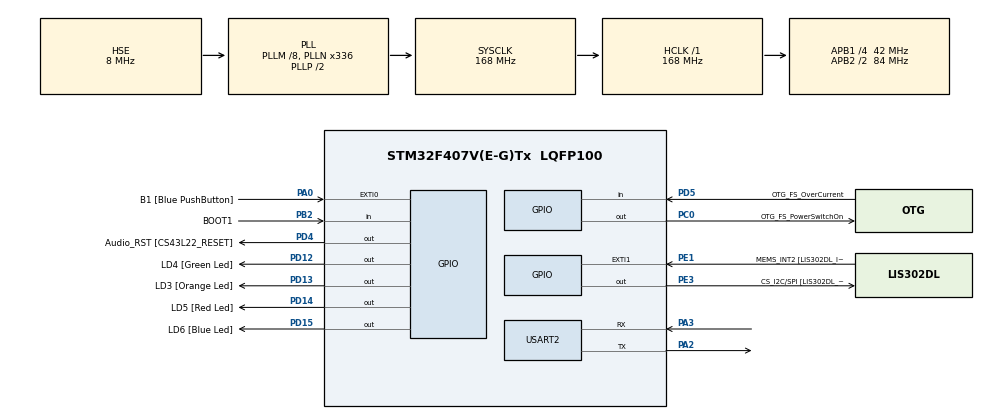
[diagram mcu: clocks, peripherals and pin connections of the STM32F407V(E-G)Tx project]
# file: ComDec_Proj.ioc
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Mcu.Family=STM32F4
PA11.GPIO_Speed=GPIO_SPEED_FREQ_LOW
PC3.GPIO_Mode=GPIO_MODE_AF_PP
FREERTOS.Queues01=CharGenThreadQ,16,uint16_t,0,Dynamic,NULL,NULL;DecodingThreadQ,16,uint16_t,0,Dynamic,NULL,NULL
PD12.GPIO_Label=LD4 [Green Led]
PH0-OSC_IN.Signal=RCC_OSC_IN
VP_SYS_VS_tim6.Mode=TIM6
RCC.CortexFreq_Value=168000000
PC10.GPIO_PuPd=GPIO_NOPULL
PB10.GPIO_Speed=GPIO_SPEED_FREQ_LOW
PB6.GPIO_Mode=GPIO_MODE_AF_OD
PB10.GPIO_PuPd=GPIO_NOPULL
NVIC.TIM6_DAC_IRQn=true\:0\:0\:false\:false\:true\:false\:false\:true
PA10.GPIO_PuPd=GPIO_NOPULL
PD15.GPIO_Speed=GPIO_SPEED_FREQ_LOW
PC10.Signal=I2S3_CK
PC12.Signal=I2S3_SD
PA14.GPIO_Label=SWCLK
PA7.GPIO_Mode=GPIO_MODE_AF_PP
PC0.GPIO_Label=OTG_FS_PowerSwitchOn
PA6.GPIO_Label=SPI1_MISO [LIS302DL_SDO]
PB6.GPIO_Label=Audio_SCL [CS43L22_SCL]
PC10.GPIO_Speed=GPIO_SPEED_FREQ_LOW
PA11.GPIO_PuPd=GPIO_NOPULL
PC15-OSC32_OUT.GPIO_Label=PC15-OSC32_OUT
PC3.GPIO_Speed=GPIO_SPEED_FREQ_LOW
RCC.SYSCLKSource=RCC_SYSCLKSOURCE_PLLCLK
ProjectManager.StackSize=0x400
PA6.GPIO_Mode=GPIO_MODE_AF_PP
VP_FREERTOS_VS_CMSIS_V2.Mode=CMSIS_V2
PD13.Signal=GPIO_Output
PD14.GPIO_Speed=GPIO_SPEED_FREQ_LOW
PA12.Signal=USB_OTG_FS_DP
RCC.HCLKFreq_Value=168000000
PD4.Signal=GPIO_Output
RCC.APB2TimFreq_Value=168000000
PB6.Signal=I2C1_SCL
PC7.Signal=I2S3_MCK
PC3.Signal=I2S2_SD
PE1.Signal=GPXTI1
RCC.AHBFreq_Value=168000000
PH0-OSC_IN.Mode=HSE-External-Oscillator
PH0-OSC_IN.GPIO_Label=PH0-OSC_IN
PA9.GPIO_Mode=GPIO_MODE_INPUT
RCC.HSE_VALUE=8000000
PA4.GPIO_PuPd=GPIO_NOPULL
PB2.Signal=GPIO_Input
PA4.GPIO_Speed=GPIO_SPEED_FREQ_LOW
PA6.GPIO_PuPd=GPIO_NOPULL
PC14-OSC32_IN.Mode=LSE-External-Oscillator
PA14.Mode=Serial_Wire
PA5.GPIO_PuPd=GPIO_NOPULL
PA10.GPIO_Label=OTG_FS_ID
PC7.GPIO_Mode=GPIO_MODE_AF_PP
PD5.GPIO_Mode=GPIO_MODE_INPUT
PD14.GPIO_PuPd=GPIO_NOPULL
PB2.GPIO_PuPd=GPIO_NOPULL
PH1-OSC_OUT.Mode=HSE-External-Oscillator
PD13.GPIO_Label=LD3 [Orange Led]
Mcu.Package=LQFP100
PB9.Signal=I2C1_SDA
PA6.Signal=SPI1_MISO
NVIC.TimeBase=TIM6_DAC_IRQn
USART2.VirtualMode=VM_ASYNC
PD12.Signal=GPIO_Output
PD5.GPIO_Label=OTG_FS_OverCurrent
PD15.GPIO_PuPd=GPIO_NOPULL
NVIC.TimeBaseIP=TIM6
PA10.Signal=USB_OTG_FS_ID
PB9.GPIO_PuPd=GPIO_NOPULL
PA10.GPIO_Speed=GPIO_SPEED_FREQ_LOW
RCC.APB2CLKDivider=RCC_HCLK_DIV2
PB9.GPIO_Speed=GPIO_SPEED_FREQ_LOW
RCC.APB1TimFreq_Value=84000000
PC14-OSC32_IN.GPIO_Label=PC14-OSC32_IN
PC12.GPIO_PuPd=GPIO_NOPULL
PA6.GPIO_Speed=GPIO_SPEED_FREQ_LOW
PC0.GPIO_PuPd=GPIO_NOPULL
FREERTOS.configMAX_TASK_NAME_LEN=32
PA12.GPIO_PuPd=GPIO_NOPULL
PA4.GPIO_Label=I2S3_WS [CS43L22_LRCK]
PD15.Signal=GPIO_Output
PC0.PinState=GPIO_PIN_SET
PA12.GPIO_Speed=GPIO_SPEED_FREQ_LOW
PA3.Signal=USART2_RX
PB3.GPIO_Label=SWO
RCC.PLLSourceVirtual=RCC_PLLSOURCE_HSE
PC15-OSC32_OUT.Mode=LSE-External-Oscillator
PD12.GPIO_Speed=GPIO_SPEED_FREQ_LOW
FREERTOS.Tasks01=DecodingThread,24,128,fvdDecodingThread,Default,NULL,Dynamic,NULL,NULL;CharGenThread,8,128,fvdCharGenThread,Default,NULL,Dynamic,NULL,NULL
PD15.GPIO_Label=LD6 [Blue Led]
PB9.GPIO_Label=Audio_SDA [CS43L22_SDA]
PC10.GPIO_Label=I2S3_SCK [CS43L22_SCLK]
PA9.GPIO_Label=VBUS_FS
PB6.GPIO_PuPd=GPIO_NOPULL
PA11.GPIO_Label=OTG_FS_DM
PE1.GPIO_PuPd=GPIO_NOPULL
PD5.Signal=GPIO_Input
PC0.Signal=GPIO_Output
PE1.GPIO_ModeDefaultEXTI=GPIO_MODE_EVT_RISING
RCC.APB1CLKDivider=RCC_HCLK_DIV4
PC14-OSC32_IN.Signal=RCC_OSC32_IN
PA9.GPIO_PuPd=GPIO_NOPULL
PA0-WKUP.GPIO_ModeDefaultEXTI=GPIO_MODE_EVT_RISING
PA12.GPIO_Label=OTG_FS_DP
PA0-WKUP.GPIO_Label=B1 [Blue PushButton]
PA0-WKUP.Signal=GPXTI0
PA10.GPIO_Mode=GPIO_MODE_AF_PP
PA3.Mode=Asynchronous
PA13.Signal=SYS_JTMS-SWDIO
PC10.GPIO_Mode=GPIO_MODE_AF_PP
PD4.GPIO_PuPd=GPIO_NOPULL
PC0.GPIO_Speed=GPIO_SPEED_FREQ_LOW
PB10.GPIO_Mode=GPIO_MODE_AF_PP
ProjectManager.TargetToolchain=STM32CubeIDE
PB10.GPIO_Label=CLK_IN [MP45DT02_CLK]
PA9.Signal=USB_OTG_FS_VBUS
PC7.GPIO_PuPd=GPIO_NOPULL
PC15-OSC32_OUT.Signal=RCC_OSC32_OUT
PA7.GPIO_PuPd=GPIO_NOPULL
PB10.Signal=I2S2_CK
PA5.Signal=SPI1_SCK
board=STM32F407G-DISC1
PD13.GPIO_Speed=GPIO_SPEED_FREQ_LOW
PC7.GPIO_Speed=GPIO_SPEED_FREQ_LOW
RCC.VCOOutputFreq_Value=336000000
PE1.GPIO_Label=MEMS_INT2 [LIS302DL_INT2]
PA7.GPIO_Speed=GPIO_SPEED_FREQ_LOW
PB9.GPIO_Mode=GPIO_MODE_AF_OD
PA12.GPIO_Mode=GPIO_MODE_AF_PP
PA4.GPIO_Mode=GPIO_MODE_AF_PP
RCC.APB2Freq_Value=84000000
PB2.GPIO_Mode=GPIO_MODE_INPUT
PD4.GPIO_Label=Audio_RST [CS43L22_RESET]
PD4.GPIO_Speed=GPIO_SPEED_FREQ_LOW
PE3.GPIO_PuPd=GPIO_NOPULL
PH1-OSC_OUT.Signal=RCC_OSC_OUT
PD13.GPIO_PuPd=GPIO_NOPULL
PD5.GPIO_PuPd=GPIO_NOPULL
PD14.GPIO_Label=LD5 [Red Led]
PH1-OSC_OUT.GPIO_Label=PH1-OSC_OUT
PA13.Mode=Serial_Wire
Mcu.Name=STM32F407V(E-G)Tx
PA2.Signal=USART2_TX
PA13.GPIO_Label=SWDIO
PC7.GPIO_Label=I2S3_MCK [CS43L22_MCLK]
PD14.Signal=GPIO_Output
RCC.48MHZClocksFreq_Value=48000000
PB3.Signal=SYS_JTDO-SWO
PA4.Signal=I2S3_WS
RCC.SYSCLKFreq_VALUE=168000000
PC12.GPIO_Mode=GPIO_MODE_AF_PP
PA7.GPIO_Label=SPI1_MOSI [LIS302DL_SDA/SDI/SDO]
PA5.GPIO_Label=SPI1_SCK [LIS302DL_SCL/SPC]
PE3.GPIO_Speed=GPIO_SPEED_FREQ_LOW
PC12.GPIO_Label=I2S3_SD [CS43L22_SDIN]
PA11.Signal=USB_OTG_FS_DM
PA14.Signal=SYS_JTCK-SWCLK
PB2.GPIO_Label=BOOT1
ProjectManager.HeapSize=0x200
RCC.HSI_VALUE=16000000
PA5.GPIO_Speed=GPIO_SPEED_FREQ_LOW
RCC.PLLQ=7
NVIC.PriorityGroup=NVIC_PRIORITYGROUP_4
RCC.PLLM=8
RCC.PLLN=336
PE3.Signal=GPIO_Output
PA2.Mode=Asynchronous
PE3.GPIO_Label=CS_I2C/SPI [LIS302DL_CS_I2C/SPI]
PC3.GPIO_Label=PDM_OUT [MP45DT02_DOUT]
PA0-WKUP.GPIO_PuPd=GPIO_NOPULL
PA11.GPIO_Mode=GPIO_MODE_AF_PP
PB6.GPIO_Speed=GPIO_SPEED_FREQ_LOW
RCC.APB1Freq_Value=42000000
PA5.GPIO_Mode=GPIO_MODE_AF_PP
PC12.GPIO_Speed=GPIO_SPEED_FREQ_LOW
PC3.GPIO_PuPd=GPIO_NOPULL
PD12.GPIO_PuPd=GPIO_NOPULL
PA7.Signal=SPI1_MOSI

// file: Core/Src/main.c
/* USER CODE BEGIN Header */
/**
  ******************************************************************************
  * @file           : main.c
  * @brief          : Main program body
  ******************************************************************************
  * @attention
  *
  * <h2><center>&copy; Copyright (c) 2021 STMicroelectronics.
  * All rights reserved.</center></h2>
  *
  * This software component is licensed by ST under Ultimate Liberty license
  * SLA0044, the "License"; You may not use this file except in compliance with
  * the License. You may obtain a copy of the License at:
  *                             www.st.com/SLA0044
  *
  ******************************************************************************
  */
/* USER CODE END Header */
#include "main.h"
#include "cmsis_os.h"
#include "command_decoder.h"
#include <stdio.h>
#include <stdlib.h>
#include <string.h>

UART_HandleTypeDef huart2;

/* Definitions for DecodingThread */
osThreadId_t DecodingThreadHandle;
const osThreadAttr_t DecodingThread_attributes = {
  .name = "DecodingThread",
  .stack_size = 128 * 4,
  .priority = (osPriority_t) osPriorityNormal,
};

osThreadId_t DummyThreadHandle1;
const osThreadAttr_t DummyThread1_attributes = {
  .name = "DummyThread1",
  .stack_size = 128 * 4,
  .priority = (osPriority_t) osPriorityNormal,
};

osThreadId_t DummyThreadHandle2;
const osThreadAttr_t DummyThread2_attributes = {
  .name = "fvdDummyThread2",
  .stack_size = 128 * 4,
  .priority = (osPriority_t) osPriorityNormal,
};

/* Definitions for CharGenThread */
osThreadId_t CharGenThreadHandle;
const osThreadAttr_t CharGenThread_attributes = {
  .name = "CharGenThread",
  .stack_size = 128 * 4,
  .priority = (osPriority_t) osPriorityLow,
};
/* Definitions for CharGenThreadQ */
osMessageQueueId_t CharGenThreadQHandle;
const osMessageQueueAttr_t CharGenThreadQ_attributes = {
  .name = "CharGenThreadQ"
};
/* Definitions for DecodingThreadQ */
osMessageQueueId_t DecodingThreadQHandle;
const osMessageQueueAttr_t DecodingThreadQ_attributes = {
  .name = "DecodingThreadQ"
};
/* USER CODE BEGIN PV */
osMemoryPoolId_t pvdMyDynamicMemory;

/* USER CODE END PV */

void SystemClock_Config(void);
static void MX_GPIO_Init(void);
static void MX_USART2_UART_Init(void);
void fvdDecodingThread(void *argument);
void fvdCharGenThread(void *argument);

int main(void)
{

  /* USER CODE BEGIN 1 */
  uint8_t a0chSignOnMess[] = "\r\n\r\nCommand Decoder Demo Program\r\n\r\nInput memory location to view from 20000000 to 20020000 (in hex): ";
  /* USER CODE END 1 */

  /* MCU Configuration--------------------------------------------------------*/

  /* Reset of all peripherals, Initializes the Flash interface and the Systick. */
  HAL_Init();

  /* Configure the system clock */
  SystemClock_Config();

  /* Initialize all configured peripherals */
  MX_GPIO_Init();
  MX_USART2_UART_Init();

  /* Init scheduler */
  osKernelInitialize();

  /* Create the queue(s) */
  /* creation of CharGenThreadQ */
  CharGenThreadQHandle = osMessageQueueNew (16, sizeof(tstMessEnvelope), &CharGenThreadQ_attributes);

  /* creation of DecodingThreadQ */
  DecodingThreadQHandle = osMessageQueueNew (16, sizeof(tstMessEnvelope), &DecodingThreadQ_attributes);

  /* Create the thread(s) */
  /* creation of DecodingThread */
  DecodingThreadHandle = osThreadNew(fvdDecodingThread, NULL, &DecodingThread_attributes);

  /* creation of CharGenThread */
  CharGenThreadHandle = osThreadNew(fvdCharGenThread, NULL, &CharGenThread_attributes);

  /* USER CODE BEGIN RTOS_EVENTS */
  /* add events, ... */
  /*
   * Allocate a pool of Dynamic memory from the Heap
   */
  pvdMyDynamicMemory = osMemoryPoolNew(1000, 1, NULL);

  HAL_UART_Transmit(&huart2, a0chSignOnMess, sizeof(a0chSignOnMess), 20);
  /* USER CODE END RTOS_EVENTS */

  /* Start scheduler */
  osKernelStart();

  /* We should never get here as control is now taken by the scheduler */
  /* Infinite loop */
  while (1)
  {

  }
}

void SystemClock_Config(void)
{
  RCC_OscInitTypeDef RCC_OscInitStruct = {0};
  RCC_ClkInitTypeDef RCC_ClkInitStruct = {0};

  /** Configure the main internal regulator output voltage
  */
  __HAL_RCC_PWR_CLK_ENABLE();
  __HAL_PWR_VOLTAGESCALING_CONFIG(PWR_REGULATOR_VOLTAGE_SCALE1);
  /** Initializes the RCC Oscillators according to the specified parameters
  * in the RCC_OscInitTypeDef structure.
  */
  RCC_OscInitStruct.OscillatorType = RCC_OSCILLATORTYPE_HSE;
  RCC_OscInitStruct.HSEState = RCC_HSE_ON;
  RCC_OscInitStruct.PLL.PLLState = RCC_PLL_ON;
  RCC_OscInitStruct.PLL.PLLSource = RCC_PLLSOURCE_HSE;
  RCC_OscInitStruct.PLL.PLLM = 8;
  RCC_OscInitStruct.PLL.PLLN = 336;
  RCC_OscInitStruct.PLL.PLLP = RCC_PLLP_DIV2;
  RCC_OscInitStruct.PLL.PLLQ = 7;
  if (HAL_RCC_OscConfig(&RCC_OscInitStruct) != HAL_OK)
  {
    Error_Handler();
  }
  /** Initializes the CPU, AHB and APB buses clocks
  */
  RCC_ClkInitStruct.ClockType = RCC_CLOCKTYPE_HCLK|RCC_CLOCKTYPE_SYSCLK
                              |RCC_CLOCKTYPE_PCLK1|RCC_CLOCKTYPE_PCLK2;
  RCC_ClkInitStruct.SYSCLKSource = RCC_SYSCLKSOURCE_PLLCLK;
  RCC_ClkInitStruct.AHBCLKDivider = RCC_SYSCLK_DIV1;
  RCC_ClkInitStruct.APB1CLKDivider = RCC_HCLK_DIV4;
  RCC_ClkInitStruct.APB2CLKDivider = RCC_HCLK_DIV2;

  if (HAL_RCC_ClockConfig(&RCC_ClkInitStruct, FLASH_LATENCY_5) != HAL_OK)
  {
    Error_Handler();
  }
}

static void MX_USART2_UART_Init(void)
{

  huart2.Instance = USART2;
  huart2.Init.BaudRate = 115200;
  huart2.Init.WordLength = UART_WORDLENGTH_8B;
  huart2.Init.StopBits = UART_STOPBITS_1;
  huart2.Init.Parity = UART_PARITY_NONE;
  huart2.Init.Mode = UART_MODE_TX_RX;
  huart2.Init.HwFlowCtl = UART_HWCONTROL_NONE;
  huart2.Init.OverSampling = UART_OVERSAMPLING_16;
  if (HAL_UART_Init(&huart2) != HAL_OK)
  {
    Error_Handler();
  }

}

static void MX_GPIO_Init(void)
{
  GPIO_InitTypeDef GPIO_InitStruct = {0};

  /* GPIO Ports Clock Enable */
  __HAL_RCC_GPIOE_CLK_ENABLE();
  __HAL_RCC_GPIOC_CLK_ENABLE();
  __HAL_RCC_GPIOH_CLK_ENABLE();
  __HAL_RCC_GPIOA_CLK_ENABLE();
  __HAL_RCC_GPIOB_CLK_ENABLE();
  __HAL_RCC_GPIOD_CLK_ENABLE();

  /*Configure GPIO pin Output Level */
  HAL_GPIO_WritePin(CS_I2C_SPI_GPIO_Port, CS_I2C_SPI_Pin, GPIO_PIN_RESET);

  /*Configure GPIO pin Output Level */
  HAL_GPIO_WritePin(OTG_FS_PowerSwitchOn_GPIO_Port, OTG_FS_PowerSwitchOn_Pin, GPIO_PIN_SET);

  /*Configure GPIO pin Output Level */
  HAL_GPIO_WritePin(GPIOD, LD4_Pin|LD3_Pin|LD5_Pin|LD6_Pin
                          |Audio_RST_Pin, GPIO_PIN_RESET);

  /*Configure GPIO pin : CS_I2C_SPI_Pin */
  GPIO_InitStruct.Pin = CS_I2C_SPI_Pin;
  GPIO_InitStruct.Mode = GPIO_MODE_OUTPUT_PP;
  GPIO_InitStruct.Pull = GPIO_NOPULL;
  GPIO_InitStruct.Speed = GPIO_SPEED_FREQ_LOW;
  HAL_GPIO_Init(CS_I2C_SPI_GPIO_Port, &GPIO_InitStruct);

  /*Configure GPIO pin : OTG_FS_PowerSwitchOn_Pin */
  GPIO_InitStruct.Pin = OTG_FS_PowerSwitchOn_Pin;
  GPIO_InitStruct.Mode = GPIO_MODE_OUTPUT_PP;
  GPIO_InitStruct.Pull = GPIO_NOPULL;
  GPIO_InitStruct.Speed = GPIO_SPEED_FREQ_LOW;
  HAL_GPIO_Init(OTG_FS_PowerSwitchOn_GPIO_Port, &GPIO_InitStruct);

  /*Configure GPIO pin : PDM_OUT_Pin */
  GPIO_InitStruct.Pin = PDM_OUT_Pin;
  GPIO_InitStruct.Mode = GPIO_MODE_AF_PP;
  GPIO_InitStruct.Pull = GPIO_NOPULL;
  GPIO_InitStruct.Speed = GPIO_SPEED_FREQ_LOW;
  GPIO_InitStruct.Alternate = GPIO_AF5_SPI2;
  HAL_GPIO_Init(PDM_OUT_GPIO_Port, &GPIO_InitStruct);

  /*Configure GPIO pin : B1_Pin */
  GPIO_InitStruct.Pin = B1_Pin;
  GPIO_InitStruct.Mode = GPIO_MODE_EVT_RISING;
  GPIO_InitStruct.Pull = GPIO_NOPULL;
  HAL_GPIO_Init(B1_GPIO_Port, &GPIO_InitStruct);

  /*Configure GPIO pin : I2S3_WS_Pin */
  GPIO_InitStruct.Pin = I2S3_WS_Pin;
  GPIO_InitStruct.Mode = GPIO_MODE_AF_PP;
  GPIO_InitStruct.Pull = GPIO_NOPULL;
  GPIO_InitStruct.Speed = GPIO_SPEED_FREQ_LOW;
  GPIO_InitStruct.Alternate = GPIO_AF6_SPI3;
  HAL_GPIO_Init(I2S3_WS_GPIO_Port, &GPIO_InitStruct);

  /*Configure GPIO pins : SPI1_SCK_Pin SPI1_MISO_Pin SPI1_MOSI_Pin */
  GPIO_InitStruct.Pin = SPI1_SCK_Pin|SPI1_MISO_Pin|SPI1_MOSI_Pin;
  GPIO_InitStruct.Mode = GPIO_MODE_AF_PP;
  GPIO_InitStruct.Pull = GPIO_NOPULL;
  GPIO_InitStruct.Speed = GPIO_SPEED_FREQ_LOW;
  GPIO_InitStruct.Alternate = GPIO_AF5_SPI1;
  HAL_GPIO_Init(GPIOA, &GPIO_InitStruct);

  /*Configure GPIO pin : BOOT1_Pin */
  GPIO_InitStruct.Pin = BOOT1_Pin;
  GPIO_InitStruct.Mode = GPIO_MODE_INPUT;
  GPIO_InitStruct.Pull = GPIO_NOPULL;
  HAL_GPIO_Init(BOOT1_GPIO_Port, &GPIO_InitStruct);

  /*Configure GPIO pin : CLK_IN_Pin */
  GPIO_InitStruct.Pin = CLK_IN_Pin;
  GPIO_InitStruct.Mode = GPIO_MODE_AF_PP;
  GPIO_InitStruct.Pull = GPIO_NOPULL;
  GPIO_InitStruct.Speed = GPIO_SPEED_FREQ_LOW;
  GPIO_InitStruct.Alternate = GPIO_AF5_SPI2;
  HAL_GPIO_Init(CLK_IN_GPIO_Port, &GPIO_InitStruct);

  /*Configure GPIO pins : LD4_Pin LD3_Pin LD5_Pin LD6_Pin
                           Audio_RST_Pin */
  GPIO_InitStruct.Pin = LD4_Pin|LD3_Pin|LD5_Pin|LD6_Pin
                          |Audio_RST_Pin;
  GPIO_InitStruct.Mode = GPIO_MODE_OUTPUT_PP;
  GPIO_InitStruct.Pull = GPIO_NOPULL;
  GPIO_InitStruct.Speed = GPIO_SPEED_FREQ_LOW;
  HAL_GPIO_Init(GPIOD, &GPIO_InitStruct);

  /*Configure GPIO pins : I2S3_MCK_Pin I2S3_SCK_Pin I2S3_SD_Pin */
  GPIO_InitStruct.Pin = I2S3_MCK_Pin|I2S3_SCK_Pin|I2S3_SD_Pin;
  GPIO_InitStruct.Mode = GPIO_MODE_AF_PP;
  GPIO_InitStruct.Pull = GPIO_NOPULL;
  GPIO_InitStruct.Speed = GPIO_SPEED_FREQ_LOW;
  GPIO_InitStruct.Alternate = GPIO_AF6_SPI3;
  HAL_GPIO_Init(GPIOC, &GPIO_InitStruct);

  /*Configure GPIO pin : VBUS_FS_Pin */
  GPIO_InitStruct.Pin = VBUS_FS_Pin;
  GPIO_InitStruct.Mode = GPIO_MODE_INPUT;
  GPIO_InitStruct.Pull = GPIO_NOPULL;
  HAL_GPIO_Init(VBUS_FS_GPIO_Port, &GPIO_InitStruct);

  /*Configure GPIO pins : OTG_FS_ID_Pin OTG_FS_DM_Pin OTG_FS_DP_Pin */
  GPIO_InitStruct.Pin = OTG_FS_ID_Pin|OTG_FS_DM_Pin|OTG_FS_DP_Pin;
  GPIO_InitStruct.Mode = GPIO_MODE_AF_PP;
  GPIO_InitStruct.Pull = GPIO_NOPULL;
  GPIO_InitStruct.Speed = GPIO_SPEED_FREQ_LOW;
  GPIO_InitStruct.Alternate = GPIO_AF10_OTG_FS;
  HAL_GPIO_Init(GPIOA, &GPIO_InitStruct);

  /*Configure GPIO pin : OTG_FS_OverCurrent_Pin */
  GPIO_InitStruct.Pin = OTG_FS_OverCurrent_Pin;
  GPIO_InitStruct.Mode = GPIO_MODE_INPUT;
  GPIO_InitStruct.Pull = GPIO_NOPULL;
  HAL_GPIO_Init(OTG_FS_OverCurrent_GPIO_Port, &GPIO_InitStruct);

  /*Configure GPIO pins : Audio_SCL_Pin Audio_SDA_Pin */
  GPIO_InitStruct.Pin = Audio_SCL_Pin|Audio_SDA_Pin;
  GPIO_InitStruct.Mode = GPIO_MODE_AF_OD;
  GPIO_InitStruct.Pull = GPIO_PULLUP;
  GPIO_InitStruct.Speed = GPIO_SPEED_FREQ_LOW;
  GPIO_InitStruct.Alternate = GPIO_AF4_I2C1;
  HAL_GPIO_Init(GPIOB, &GPIO_InitStruct);

  /*Configure GPIO pin : MEMS_INT2_Pin */
  GPIO_InitStruct.Pin = MEMS_INT2_Pin;
  GPIO_InitStruct.Mode = GPIO_MODE_EVT_RISING;
  GPIO_InitStruct.Pull = GPIO_NOPULL;
  HAL_GPIO_Init(MEMS_INT2_GPIO_Port, &GPIO_InitStruct);

}

/* USER CODE BEGIN 4 */

/*****************************************************************
 *
 *      TABLES AND HANDLING FUNCTIONS FOR fvdDecodingThread
 *
 * The tables and the handling functions are intermixed in this
 * section with the handling functions close to the vector table
 * that would invoke them.
 *
 *****************************************************************
 */

#define INT_ARRAY_SIZE 9 // Size of an integer location written in hex

typedef struct
    {
      uint8_t uchCharCnt;                         // Number characters in a0uchHexNum
      uint8_t a0uchHexNum[INT_ARRAY_SIZE + 1];    // Where input characters are stored.
      uint8_t uchArraySize;                       // Where the INT_ARRAY_SIZE number is stored.
      uint32_t uintAddress;                       // The converted string in binary integer
    } stCharInfo_Type;

/*====================================================================================*/
// ASCII number input handler
/*
 * fnAssum_AsciiNum - DT0
 *
 * This function accepts takes ASCII number character passed in and echoes it
 * to the terminal, and then inputs it into a string that will later be
 * converted into a floating point number.
 *
 * The string is passed in via the info_struc_ptr component of the
 * dec_input_struc.
 *
 * The table pointers remain unaltered for this routine.
 *
 * Param: dec_input_struc *
 *
 * Return: void
 */
void fvdAccum_AsciiNum(dec_input_struc *pstDecoderStruc)
{
  uint8_t uchInputChar = pstDecoderStruc->data_byte;
  stCharInfo_Type * pstCharInfo;

  /* Check to see if the array length is going to be exceeded
   * if we put the new character into the array.
   */
  pstCharInfo = (stCharInfo_Type *)(pstDecoderStruc->info_struc_ptr);

  if ( pstCharInfo->uchCharCnt < pstCharInfo->uchArraySize - 1)
  {
    pstCharInfo->a0uchHexNum[pstCharInfo->uchCharCnt++] = uchInputChar;
    // Echo to the terminal
    HAL_UART_Transmit(&huart2, &uchInputChar, 1, 10);
  }
}

/*====================================================================================*/

/*
 * fvdCR_received - DT0
 *
 * This handler is entered if a CR has been input by the user. This is assumed to be
 * the indication of the termination of an number input.
 *
 * If there is a number has accumulated in the stCharInfo_Type data structure
 * pointed to by the pstDecoderStruc->info_struc_ptr then this is converted from
 * ascii hexadecimal to binary.  Then the contents of the memory location pointed
 * to by the resultant address is presented on the screen.
 *
 * Param: dec_input_struc *
 *
 * Returns: void
 *
 */
void fvdCR_received(dec_input_struc *pstDecoderStruc)
{
  uint8_t *puchCharCnt;
  uint32_t *puinMemLoc;

  char a20chReturned_ascii[20];

  // Messages
  char a0chMess1[] =
      {
          "Contents of memory location are: "
      };
  char a0chMess2[] =
      {
          "No characters input. Try again\r\n"
      };

  char a0chMess3[] =
      {
          "Illegal memory range. Try again\r\n"
      };

  char a0chMess4[] =
      {
          "Input a new memory address:\r\n"
      };

  // Write CRLF to the terminal
  HAL_UART_Transmit(&huart2, (uint8_t*)"\r\n", 2, 10);

  puchCharCnt = &(((stCharInfo_Type *)(pstDecoderStruc->info_struc_ptr))->uchCharCnt);

  if (*puchCharCnt != 0)
  {
    // There are ascii characters in the buffer.
    // Convert the buffer contents to a string
    ((stCharInfo_Type *)(pstDecoderStruc->info_struc_ptr))->a0uchHexNum[*puchCharCnt] = '\0';

    // Now convert ascii hex number to an binary integer
    puinMemLoc = (uint32_t*)strtol((char *)((stCharInfo_Type *)(pstDecoderStruc->info_struc_ptr))->a0uchHexNum,
                                                                   NULL, 16);
    ((stCharInfo_Type *)(pstDecoderStruc->info_struc_ptr))->uintAddress = (uint32_t)puinMemLoc;

    if (((uint32_t)puinMemLoc >= 0x20000000) && ((uint32_t)puinMemLoc < 0x20020000))
    {
      /*
       * !!!!! DON'T USE THE SPRINTF FUNCTION. !!!!!
       *
       * It corrupts the software as it uses the malloc routine somewhere
       * under the hood. This is not consistent with FreeRTOS.
       */
      // sprintf(a20chReturned_ascii, "%lx", (uint32_t)puinMemLoc);

      itoa((uint32_t)*puinMemLoc, a20chReturned_ascii, 16);
      strcat(a20chReturned_ascii, "\r\n");

      HAL_UART_Transmit(&huart2, (uint8_t*)a0chMess1, strlen(a0chMess1), 10);
      HAL_UART_Transmit(&huart2, (uint8_t*)a20chReturned_ascii, strlen(a20chReturned_ascii), 10);
      HAL_UART_Transmit(&huart2, (uint8_t*)"\r\nInput a new memory location in hex: ",
                                    strlen("\r\nInput a new memory location in hex: "), 10);
    }
    else
    {
      HAL_UART_Transmit(&huart2, (uint8_t*)a0chMess3, strlen(a0chMess3), 10);
      HAL_UART_Transmit(&huart2, (uint8_t*)a0chMess4, strlen(a0chMess4), 10);

    }
  }
  else
  {
    // No valid characters have been input
    HAL_UART_Transmit(&huart2, (uint8_t*)a0chMess2, strlen(a0chMess2), 10);
  }
  // HAL_UART_Transmit(&huart2, (uint8_t*)"Got to CR handler", strlen("Got to CR handler"), 10);
  *puchCharCnt = 0;
}

/*==========================================================================================*/

/*
 * fvdBS_received
 *
 * Simply deletes a character if there is a character to be deleted.
 *
 */
void fvdBS_received(dec_input_struc *pstDecoderStruc)
{
  uint16_t uchCharCnt;

  // The user has request that the previous character be deleted.
  uchCharCnt = ((stCharInfo_Type *)(pstDecoderStruc->info_struc_ptr))->uchCharCnt;

  if (uchCharCnt > 0)
  {
    (((stCharInfo_Type *)(pstDecoderStruc->info_struc_ptr))->uchCharCnt)--;
    HAL_UART_Transmit(&huart2, (uint8_t*)"\b \b", 3, 10);
  }
}

/*==========================================================================================*/

/*
 * fvdDEL_received
 *
 * Simply deletes a character if there is a character to be deleted.
 *
 */
void fvdDEL_received(dec_input_struc *pstDecoderStruc)
{
  uint8_t uchCharCnt;

  // The user has request that the previous character be deleted.
  uchCharCnt = ((stCharInfo_Type *)(pstDecoderStruc->info_struc_ptr))->uchCharCnt;

  if (uchCharCnt > 0)
  {
    (((stCharInfo_Type *)(pstDecoderStruc->info_struc_ptr))->uchCharCnt)--;
    HAL_UART_Transmit(&huart2, (uint8_t*)"\b \b", 3, 10);
  }
}

/*==========================================================================================*/

/*
 * fvdInvalidChar - DT0
 *
 * This function is entered if the user types and invalid character in a particular input table
 * Does not echo the character and returns to the same set of tables.
 *
 */
void fvdInvalid_Char(dec_input_struc *pstDecoderStruc)
{
  ;
}

/*!!!!!!!!!!!!!!!!!!!!!!!!!!!!!!!!!!!!!!!!!!!!!!!!!!!!!!!!!!!!!!!!!!!!!!!!!!!!!!!!!!!!!!!!!!!*/

/*
 * Initial Decoding Tables
 */
// For the valid sending task CharGenThread
uint8_t a10uchVdt_DT0[10] =
                        {
                          CHAR_RANGE('0', '9'),
                          CHAR_RANGE('a', 'f'),
                          CHAR_RANGE('A', 'F'),
                          CR_CHAR,
                          BS_CHAR,
                          DEL_CHAR,
                          ASC_TABLE_END
                        };

void(*a7pfvdVt_DT0[7])(dec_input_struc *) =
                          {
                            fvdAccum_AsciiNum,
                            fvdAccum_AsciiNum,
                            fvdAccum_AsciiNum,
                            fvdCR_received,
                            fvdBS_received,
                            fvdDEL_received,
                            fvdInvalid_Char
                          };

// For an invalid sending task
uint8_t a1uchVdt_DT0[1] =
                        {
                            ASC_TABLE_END
                        };

void(*a1pfvdVt_DT0[1])(dec_input_struc *) =
                          {
                            fvdInvalid_Char
                          };

/* USER CODE END 4 */

/* USER CODE BEGIN Header_fvdDecodingThread */

/*===========================================================================*/

/**
  * @brief  Function implementing the DecodingThread thread.
  * @param  argument: Not used
  * @retval None
  */
/* USER CODE END Header_fvdDecodingThread */
void fvdDecodingThread(void *argument)
{
  /* USER CODE BEGIN 5 */

  addr_struc stDecTaskAddrStruc;

  stCharInfo_Type stInputDataStore;

  // Delare the dec_input_struc that will be used for decoding the
  // different valid sending tasks.
  dec_input_struc stDecodingTaskDecStruc;         // Decoding table for the CharGenThread sender task
  dec_input_struc stDecodingTaskAddrERROR;        // Decoding table for the sender task error -- i.e. wrong sender.

  // Allocate valid tasks table
  osMessageQueueId_t pvdValidAddr_DecodingThread[2];

  // Initialise valid tasks table.
  pvdValidAddr_DecodingThread[0] = CharGenThreadQHandle;    // CharGenThread Q handle
  pvdValidAddr_DecodingThread[1] = NULL;                    // Termination NULL

  // Associated decode structures for the sending tasks
  dec_input_struc *pstSenderDecStruc[2] =
        {
            &stDecodingTaskDecStruc,
            &stDecodingTaskAddrERROR
        };

  /*
   * Initialise the dec_input_struc with initial decode tables
  */
  // Firstly the table for the valid sending task CharGenThread
  stDecodingTaskDecStruc.char_dec_mode = ASCII_DECODING;
  stDecodingTaskDecStruc.valid_data_table_ptr = a10uchVdt_DT0;
  stDecodingTaskDecStruc.vector_table_ptr = a7pfvdVt_DT0;
  stDecodingTaskDecStruc.bit_table_ptr = NULL;
  stDecodingTaskDecStruc.info_struc_ptr = (void*)&stInputDataStore;

  // Now the initial the table if there is an error in the sending task
  stDecodingTaskAddrERROR.char_dec_mode = ASCII_DECODING;
  stDecodingTaskAddrERROR.valid_data_table_ptr = a1uchVdt_DT0;
  stDecodingTaskAddrERROR.vector_table_ptr = a1pfvdVt_DT0;
  stDecodingTaskAddrERROR.bit_table_ptr = NULL;

  /*
   * Initialise components of the valid sending task address structure
   */
  stDecTaskAddrStruc.pvdTaskQueueId = DecodingThreadQHandle;
  stDecTaskAddrStruc.valid_addr_tab_ptr = pvdValidAddr_DecodingThread;
  stDecTaskAddrStruc.addr_vector_ptr = pstSenderDecStruc;
  stDecTaskAddrStruc.pvdMemoryPoolId = pvdMyDynamicMemory;
  stDecTaskAddrStruc.info_struc_ptr = (void*)&stInputDataStore;

  /*
   * Initialise the structure used to accumulate the user input characters
   */
  stInputDataStore.uchCharCnt = 0;
  stInputDataStore.uchArraySize = INT_ARRAY_SIZE;

  /* Infinite loop */
  for(;;)
  {
    osDelay(1);
    // Now call the decoder with the relevant data structures
    decode_mbx_mess(&stDecTaskAddrStruc, osWaitForever);
  }
  /* USER CODE END 5 */
}

void DummyThread1(void *argument)
{
  /* init code for USB_HOST */
  MX_USB_HOST_Init();
  for(;;)
  {
    osDelay(1);
  }
}

void DummyThread2(void *argument)
{
  /* init code for USB_HOST */
  MX_USB_HOST_Init();
  for(;;)
  {
    osDelay(1);
  }
}

/*===========================================================================*/

void fvdCharGenThread(void *argument)
{
  /* USER CODE BEGIN fvdCharGenThread */
  tstMessEnvelope stMyEnvelope;
  uint8_t chCharData[2];

  /*
   * Now set up some static values in the envelope
   */
  stMyEnvelope.pvdRecipientQueueId = DecodingThreadQHandle;
  stMyEnvelope.pvdSendTaskQueueId = CharGenThreadQHandle;
  stMyEnvelope.uchDynamicMemFlag = TRUE;
  stMyEnvelope.suinMessSize = 1;
  /* Infinite loop */
  for(;;)
  {
    HAL_UART_Receive(&huart2, chCharData, 1, HAL_MAX_DELAY);

    /*
     * Have now received a character so send it to the decoding task.
     *
     * Firstly allocated a byte of memory for the message, assign
     * the received byte to it, place the pointer in the envelope.
     */
    stMyEnvelope.puchMess = (uint8_t*)osMemoryPoolAlloc(pvdMyDynamicMemory, osWaitForever);

    // Now copy the received character into the newly allocated memory
    *(stMyEnvelope.puchMess) = chCharData[0];

    osMessageQueuePut( stMyEnvelope.pvdRecipientQueueId, &stMyEnvelope, 0, osWaitForever);
  }
  /* USER CODE END fvdCharGenThread */
}

/*===========================================================================*/

 /**
  * @brief  Period elapsed callback in non blocking mode
  * @note   This function is called  when TIM6 interrupt took place, inside
  * HAL_TIM_IRQHandler(). It makes a direct call to HAL_IncTick() to increment
  * a global variable "uwTick" used as application time base.
  * @param  htim : TIM handle
  * @retval None
  */
void HAL_TIM_PeriodElapsedCallback(TIM_HandleTypeDef *htim)
{
  if (htim->Instance == TIM6) {
    HAL_IncTick();
  }
}

void Error_Handler(void)
{
  __disable_irq();
  while (1)
  {
  }
}

/************************ (C) COPYRIGHT STMicroelectronics *****END OF FILE****/
